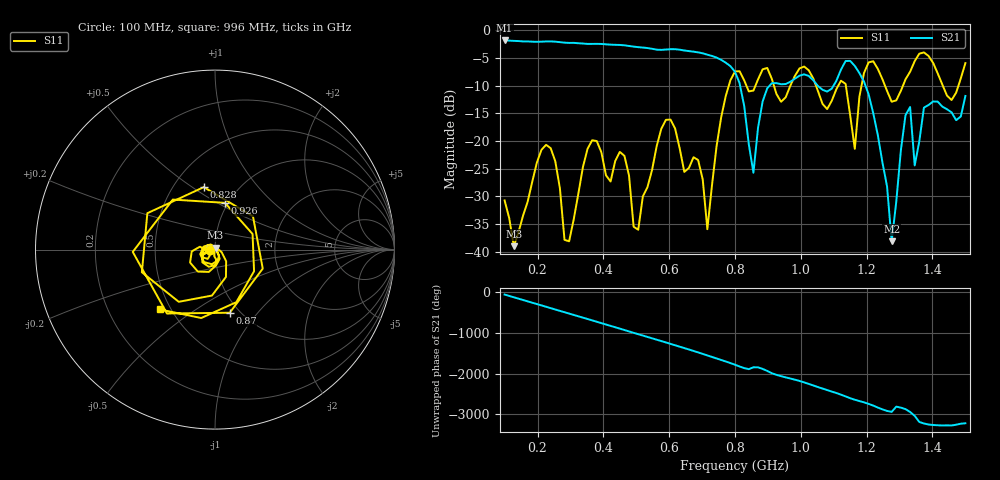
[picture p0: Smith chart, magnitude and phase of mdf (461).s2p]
! NanoVNA-App
! Date: 2025-09-25 15:42:00
! Start: 100MHz Stop: 1,5GHz Points: 101
! S-Parameter data: F S11 S21 S12 S22
# Hz S RI R 50
!  Frequency  S11_Real  S11_Imag  S21_Real  S21_Imag  S12_Real  S12_Imag  S22_Real  S22_Imag
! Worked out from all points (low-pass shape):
!   101 points, 100 MHz to 1.5 GHz, reference 50 ohm
!   highest |S21| = -1.80 dB at 100 MHz (marker M1); lowest = -38.1 dB at 1.276 GHz (marker M2)
!   |S21| within 3 dB of the highest: start of sweep to 739.3 MHz
!   lowest |S11| = -39.0 dB at 128 MHz (marker M3), VSWR 1.02, Z = 50.3 + j1.08 ohm
!   |S11| at or under -10 dB: start of sweep to 781.1 MHz; 918.3 MHz to 968 MHz (49.68 MHz wide, 5.27 % of centre); 1.046 GHz to 1.114 GHz (67.51 MHz wide, 6.25 % of centre) (the widest 3 of 7)
!   S12 and S22 are empty: the file has one direction only
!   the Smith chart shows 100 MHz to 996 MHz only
!   S11 on the Smith chart (normalised r, x): 100 MHz: 0.94, -0.01; 828 MHz: 0.70, +0.56; 870 MHz: 0.90, -0.73; 926 MHz: 0.97, +0.54; 996 MHz: 0.44, -0.37
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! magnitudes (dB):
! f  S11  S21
! 100 MHz  -30.7  -1.8
! 128 MHz  -39.0  -1.9
! 212 MHz  -21.6  -2.0
! 282 MHz  -37.9  -2.2
! 338 MHz  -24.7  -2.4
! 464 MHz  -22.7  -2.7
! 506 MHz  -36.0  -3.0
! 576 MHz  -17.8  -3.5
! 716 MHz  -35.9  -4.4
! 800 MHz  -7.4  -7.5
! 828 MHz  -9.0  -13.7
! 856 MHz  -10.9  -25.7
! 870 MHz  -8.8  -17.6
! 926 MHz  -11.5  -9.5
! 996 MHz  -6.9  -8.2
! 1.038 GHz  -8.7  -9.0
! 1.164 GHz  -21.4  -6.4
! 1.192 GHz  -7.7  -9.3
! 1.276 GHz  -12.9  -38.1
! 1.318 GHz  -8.8  -15.3
! 1.346 GHz  -5.5  -24.4
! 1.5 GHz  -5.9  -11.8
